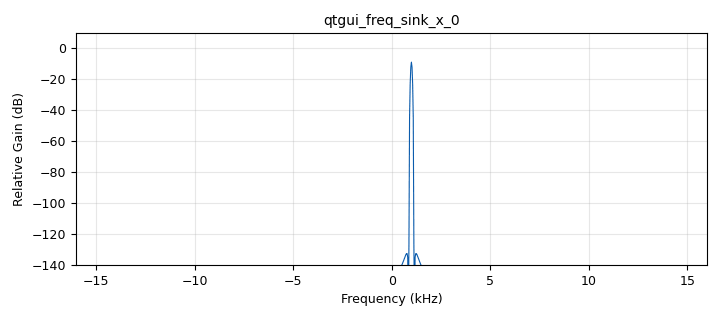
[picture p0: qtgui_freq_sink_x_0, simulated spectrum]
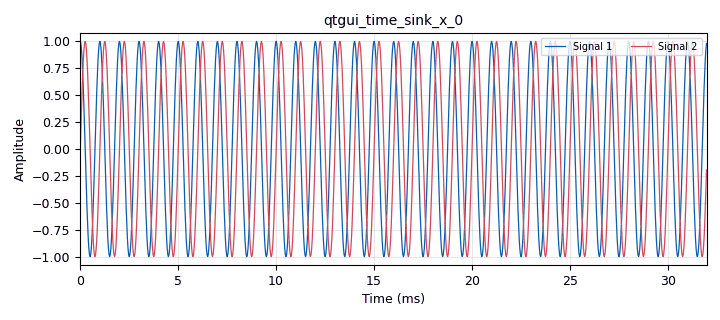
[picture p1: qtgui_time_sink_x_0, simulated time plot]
options:
  parameters:
    generate_options: qt_gui
    id: sineWaveFlowgraph
    output_language: python
    title: Your First Flowgraph
  states: {}

blocks:
- name: samp_rate
  id: variable
  parameters:
    value: '32000'
  states: {}
- name: analog_sig_source_x_0
  id: analog_sig_source_x
  parameters:
    amp: '1'
    freq: '1000'
    offset: '0'
    phase: '0'
    samp_rate: samp_rate
    type: complex
    waveform: analog.GR_COS_WAVE
  states: {}
- name: epy_block_0
  id: epy_block
  parameters:
    _source_code: "\"\"\"\nEmbedded Python Blocks:\n\nEach time this file is saved, GRC will instantiate the first class it finds\nto get ports and parameters of your block. The arguments to __init__  will\nbe the parameters. All of them are required to have default values!\n\"\"\"\n\nimport numpy as np\nfrom gnuradio import gr\n\n\nclass blk(gr.sync_block):  # other base classes are basic_block, decim_block, interp_block\n    \"\"\"Embedded Python Block example - a simple multiply const\"\"\"\n\n    def __init__(self):  # only default arguments here\n        \"\"\"arguments to this function show up as parameters in GRC\"\"\"\n        gr.sync_block.__init__(\n            self,\n            name='IQ to I and Q Block',   # will show up in GRC\n            in_sig=[np.complex64],\n            out_sig=[np.float32,np.float32]\n        )\n        # if an attribute with the same name as a parameter is found,\n        # a callback is registered (properties work, too).\n\n    def work(self, input_items, output_items):\n        \"\"\"example: add or multiply based on flag\"\"\"\n        output_items[0][:] = np.real(input_items[0][:])\n        output_items[1][:] = np.imag(input_items[0][:])\n\n        return len(output_items[0])\n\t"
  states: {}
- name: qtgui_freq_sink_x_0
  id: qtgui_freq_sink_x
  parameters:
    bw: samp_rate
    fc: '0'
    fftsize: '1024'
    type: complex
  states: {}
- name: qtgui_time_sink_x_0
  id: qtgui_time_sink_x
  parameters:
    nconnections: '2'
    size: '1024'
    srate: samp_rate
    type: float
  states: {}

connections:
- [analog_sig_source_x_0, '0', epy_block_0, '0']
- [analog_sig_source_x_0, '0', qtgui_freq_sink_x_0, '0']
- [epy_block_0, '0', qtgui_time_sink_x_0, '0']
- [epy_block_0, '1', qtgui_time_sink_x_0, '1']

metadata:
  file_format: 1
  grc_version: 3.10.12.0
